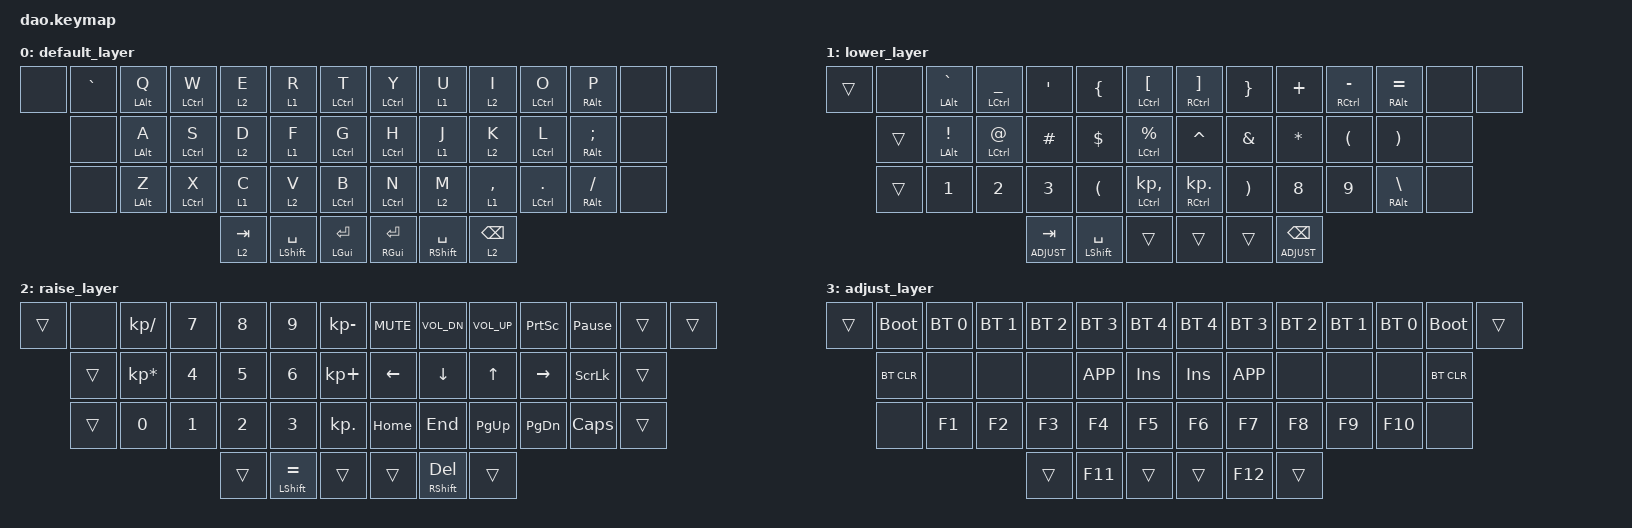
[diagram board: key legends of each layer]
/*
 * Copyright (c) 2020 The ZMK Contributors
 *
 * SPDX-License-Identifier: MIT
 * To use home rows - &mt LSHFT F
 */

#include <behaviors.dtsi>
#include <dt-bindings/zmk/keys.h>
#include <dt-bindings/zmk/bt.h>
#include <dt-bindings/zmk/outputs.h>

#define QWERTY 0
#define NUMB 1
#define NAVI 2
#define ADJUST 3

&lt {
    quick_tap_ms = <125>;
    flavor = "balanced";
};

&mt {
    quick_tap_ms = <125>;
    flavor = "balanced";
};

/ {

    behaviors {        
        hm: homerow_mods {
        compatible = "zmk,behavior-hold-tap";
        label = "HOMEROW_MODS";
        #binding-cells = <2>;
        tapping-term-ms = <150>;
        quick_tap_ms = <0>;
        flavor = "tap-preferred";
        bindings = <&kp>, <&kp>;
        };
    };

    combos {
        compatible = "zmk,combos";
        combo_esc_r {
            timeout-ms = <50>;
            key-positions = <4 5>;
            bindings = <&kp ESC>;
        };
        combo_esc_l {
            timeout-ms = <50>;
            key-positions = <8 9>;
            bindings = <&kp ESC>;
        };
        combo_caps_l {
            timeout-ms = <50>;
            key-positions = <3 4>;
            bindings = <&kp CAPS>;
        };
        combo_caps_r {
            timeout-ms = <50>;
            key-positions = <9 10>;
            bindings = <&kp CAPS>;
        };
    };



        keymap {
                compatible = "zmk,keymap";

                default_layer {
// .--------------------------------------------------------------.       .-----------------------------------------------------------.
// |   ESC        |    Q    |    W   |   E    |    R    |    T    |       |   Y   |    U    |    I    |    O    |     P    |    \     |
// |--------------+---------+--------+--------+---------+---------|       |-------+---------+---------+---------+----------+----------|
// |   CTRL/Tab   |    A    |    S   |   D    |    F    |    G    |       |   H   |    J    |    K    |    L    |     ;    |     '    |
// |--------------+---------+--------+--------+---------+---------|       |-------+---------+---------+---------+----------+----------|
// |   SHFT       |    Z    |    X   |   C    |    V    |    B    |       |   N   |    M    |    ,    |    .    |     /    | ` | ALT  |
// '---------------------------------+--------+---------+---------+       |-------+---------+---------+-------------------------------'
//                                   |  GUI   |   MO1   |   ENT   |       |  SPC  |   BKSP  |  CAPS   |
//                                   '--------+---------+---------'       '-------+---------+---------'
                        bindings = <
&none  &kp GRAVE  &mt LALT Q  &mt LCTRL W    &lt 2 E          &lt 1 R   &mt LCTRL T   &mt LCTRL Y          &lt 1 U      &lt 2 I    &mt LCTRL O     &mt RALT P  &none  &none
           &none  &mt LALT A  &mt LCTRL S    &lt 2 D          &lt 1 F   &mt LCTRL G   &mt LCTRL H          &lt 1 J      &lt 2 K    &mt LCTRL L  &mt RALT SEMI  &none
           &none  &mt LALT Z  &mt LCTRL X    &lt 1 C          &lt 2 V   &mt LCTRL B   &mt LCTRL N          &lt 2 M  &lt 1 COMMA  &mt LCTRL DOT  &mt RALT FSLH  &none
                                           &lt 2 TAB  &mt LSHFT SPACE  &mt LGUI RET  &mt RGUI RET  &mt RSHFT SPACE   &lt 2 BSPC
            >;
                };
                
                lower_layer {
// .--------------------------------------------------------------.       .-----------------------------------------------------------.
// |   ESC        |    1    |    2   |   3    |    4    |    5    |       |   6   |    7    |    8    |    9    |     0    |    `     |
// |--------------+---------+--------+--------+---------+---------|       |-------+---------+---------+---------+----------+----------|
// |              |    !    |    @   |   #    |    $    |    %    |       |   ^   |    &    |    *    |    (    |     )    |     :    |
// |--------------+---------+--------+--------+---------+---------|       |-------+---------+---------+---------+----------+----------|
// |   SHFT       |         |    +   |   -    |    {    |    [    |       |   ]   |    }    |    =    |    _    |          |          |
// '---------------------------------+--------+---------+---------+       |-------+---------+---------+-------------------------------'
//                                   |  GUI   |         |   MO3   |       |   ,   |    .    |   ?     |
//                                   '--------+---------+---------'       '-------+---------+---------'
                        bindings = <
&trans   &none  &mt LALT GRAVE  &mt LCTRL UNDER  &kp SINGLE_QUOTE   &kp LEFT_BRACE  &mt LCTRL LEFT_BRACKET  &mt RCTRL RIGHT_BRACKET  &kp RIGHT_BRACE  &kp PLUS  &mt RCTRL MINUS  &mt RALT EQUAL  &none  &none
        &trans   &mt LALT EXCL     &mt LCTRL AT          &kp HASH         &kp DLLR         &mt LCTRL PRCNT                &kp CARET         &kp AMPS  &kp STAR         &kp LPAR        &kp RPAR  &none
        &trans          &kp N1           &kp N2            &kp N3         &kp LPAR      &mt LCTRL KP_COMMA         &mt RCTRL KP_DOT         &kp RPAR    &kp N8           &kp N9   &mt RALT BSLH  &none
                                                           &lt ADJUST TAB  &mt LSHFT SPACE                  &trans                   &trans   &trans   &lt ADJUST BSPC
            >;
                };
                
                raise_layer {
// .----------------------------------------------------------------.       .-----------------------------------------------------------------.
// |   CMD+SHIFT+4  |       |   PU   |   UP   |    PD    |   HOME   |       |  HOME   |    PU    |    UP   |   PD    |          | CMD+SHIFT+4 |
// |----------------+-------+--------+--------+----------+----------|       |---------+----------+---------+---------+----------+-------------|
// |                |       |  LEFT  |  DOWN  |   RIGHT  |   END    |       |  END    |   LEFT   |   DOWN  |  RIGHT  |          |             |
// |----------------+-------+--------+--------+----------+----------|       |---------+----------+---------+---------+----------+-------------|
// |     OUT_TOG    |       |        |        |CTRL+LEFT |CTRL+RIGHT|       |CTRL+LEFT|CTRL+RIGHT|         |         |          |   OUT_TOG   |
// '---------------------------------+--------+----------+----------+       |---------+----------+---------+----------------------------------'
//                                   |  GUI   |   MO3    |          |       |         |          |         |
//                                   '--------+----------+----------'       '---------+----------+---------'

                        bindings = <
&trans   &none     &kp KP_SLASH  &kp N7  &kp N8            &kp N9  &kp KP_MINUS  &kp C_MUTE      &kp C_VOL_DN  &kp C_VOL_UP  &kp PSCRN  &kp PAUSE_BREAK  &trans  &trans
        &trans  &kp KP_MULTIPLY  &kp N4  &kp N5            &kp N6   &kp KP_PLUS    &kp LEFT          &kp DOWN        &kp UP  &kp RIGHT   &kp SCROLLLOCK  &trans
        &trans           &kp N0  &kp N1  &kp N2            &kp N3    &kp KP_DOT    &kp HOME           &kp END     &kp PG_UP  &kp PG_DN         &kp CAPS  &trans
                                         &trans  &mt LSHIFT EQUAL        &trans      &trans  &mt RSHFT DELETE        &trans
            >;
                };

                adjust_layer {
// .--------------------------------------------------------.       .--------------------------------------------------------------.
// |         |        |        |        |         |         |       |  VOL+  |        |         |         |          |             |
// |---------+--------+--------+--------+---------+---------|       |--------+--------+---------+---------+----------+-------------|
// |  BTCLR  |  BT1   |  BT2   |  BT3   |  BT4    |  BT5    |       |  VOL-  |        |         |         |          |             |
// |---------+--------+--------+--------+---------+---------|       |--------+--------+---------+---------+----------+-------------|
// |         |        |        |        |         |         |       |        |        |         |         |          |             |
// '---------------------------+--------+---------+---------+       |--------+--------+---------+----------------------------------'
//                             |        |         |         |       |        |        |         |
//                             '--------+---------+---------'       '--------+--------+---------'

                        bindings = <
&trans  &bootloader  &bt BT_SEL 0  &bt BT_SEL 1  &bt BT_SEL 2  &bt BT_SEL 3  &bt BT_SEL 4  &bt BT_SEL 4  &bt BT_SEL 3  &bt BT_SEL 2  &bt BT_SEL 1  &bt BT_SEL 0  &bootloader  &trans
         &bt BT_CLR         &none         &none         &none     &kp K_APP       &kp INS       &kp INS     &kp K_APP         &none         &none         &none   &bt BT_CLR
              &none        &kp F1        &kp F2        &kp F3        &kp F4        &kp F5        &kp F6        &kp F7        &kp F8        &kp F9       &kp F10        &none
                                                       &trans       &kp F11        &trans        &trans       &kp F12        &trans
            >;
                };
        };
};
